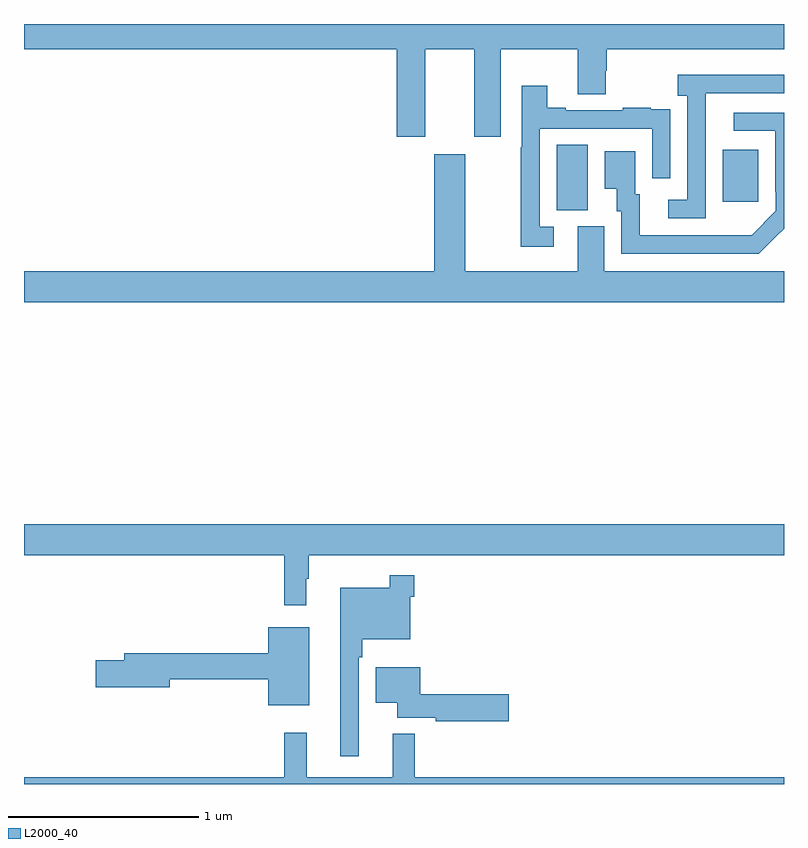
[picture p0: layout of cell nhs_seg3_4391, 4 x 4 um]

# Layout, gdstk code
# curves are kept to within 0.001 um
import gdstk
lib = gdstk.Library(unit=1e-6, precision=1e-09)
def R(c, l, rs):  # rectangles x0, y0, x1, y1
    for r in rs: c.add(gdstk.rectangle(r[:2], r[2:], *l))
def P(c, l, *ps):  # polygons
    for p in ps: c.add(gdstk.Polygon(p, *l))
L2000_40 = (2000, 40)

nhs_seg3_4391 = lib.new_cell('nhs_seg3_4391')
R(nhs_seg3_4391, L2000_40, [(347.804,681.421,347.968,681.764), (348.677,681.465,348.865,681.739)])
P(nhs_seg3_4391, L2000_40, [(347.113,682.268),(347.369,682.268),(347.369,681.807),(347.509,681.807),(347.509,682.268),(347.915,682.268),(347.915,682.03),(348.063,682.03),(348.063,682.155),(348.068,682.155),(348.068,682.268),(349,682.268),(349,682.4),(345,682.4),(345,682.268),(346.961,682.268),(346.961,681.807),(347.113,681.807)],
  [(348.588,681.835),(348.589,681.835),(348.589,682.035),(349,682.035),(349,682.132),(348.441,682.132),(348.441,682.022),(348.492,682.022),(348.492,681.474),(348.39,681.474),(348.39,681.378),(348.588,681.378)],
  [(347.788,681.333),(347.715,681.333),(347.715,681.849),(348.306,681.849),(348.306,681.588),(348.402,681.588),(348.402,681.842),(348.401,681.842),(348.401,681.951),(348.299,681.951),(348.299,681.958),(348.151,681.958),(348.151,681.945),(347.851,681.945),(347.851,681.958),(347.755,681.958),(347.755,682.075),(347.619,682.075),(347.619,681.752),(347.614,681.752),(347.614,681.228),(347.788,681.228)],
  [(348.959,681.283),(348.96,681.282),(349,681.322),(349,681.933),(348.735,681.933),(348.735,681.837),(348.954,681.837),(348.954,681.517),(348.957,681.517),(348.957,681.417),(348.829,681.289),(348.241,681.288),(348.241,681.504),(348.217,681.504),(348.217,681.73),(348.056,681.73),(348.056,681.533),(348.119,681.533),(348.119,681.414),(348.144,681.414),(348.144,681.192),(348.868,681.192)],
  [(349,681.1),(348.055,681.1),(348.055,681.336),(347.915,681.336),(347.915,681.1),(347.323,681.1),(347.323,681.715),(347.159,681.715),(347.159,681.1),(345,681.1),(345,680.936),(349,680.936)],
  [(346.486,679.481),(346.498,679.481),(346.498,679.604),(349,679.604),(349,679.768),(345,679.768),(345,679.604),(346.369,679.604),(346.369,679.341),(346.486,679.341)],
  [(346.761,679.067),(346.781,679.067),(346.781,679.163),(347.034,679.163),(347.034,679.385),(347.054,679.385),(347.054,679.498),(346.926,679.498),(346.926,679.432),(346.664,679.432),(346.664,678.546),(346.761,678.546)],
  [(346.501,679.225),(346.286,679.225),(346.286,679.088),(345.527,679.088),(345.527,679.052),(345.378,679.052),(345.378,678.91),(345.766,678.91),(345.766,678.952),(346.286,678.952),(346.286,678.815),(346.501,678.815)],
  [(347.551,678.872),(347.086,678.872),(347.086,679.015),(346.85,679.015),(346.85,678.827),(346.964,678.827),(346.964,678.749),(347.166,678.749),(347.166,678.73),(347.551,678.73)],
  [(345,678.4),(349,678.4),(349,678.436),(347.057,678.436),(347.057,678.664),(346.94,678.664),(346.94,678.436),(346.487,678.436),(346.487,678.67),(346.369,678.67),(346.369,678.436),(345,678.436)])

lib.write_gds('nhs_seg3_4391.gds')
